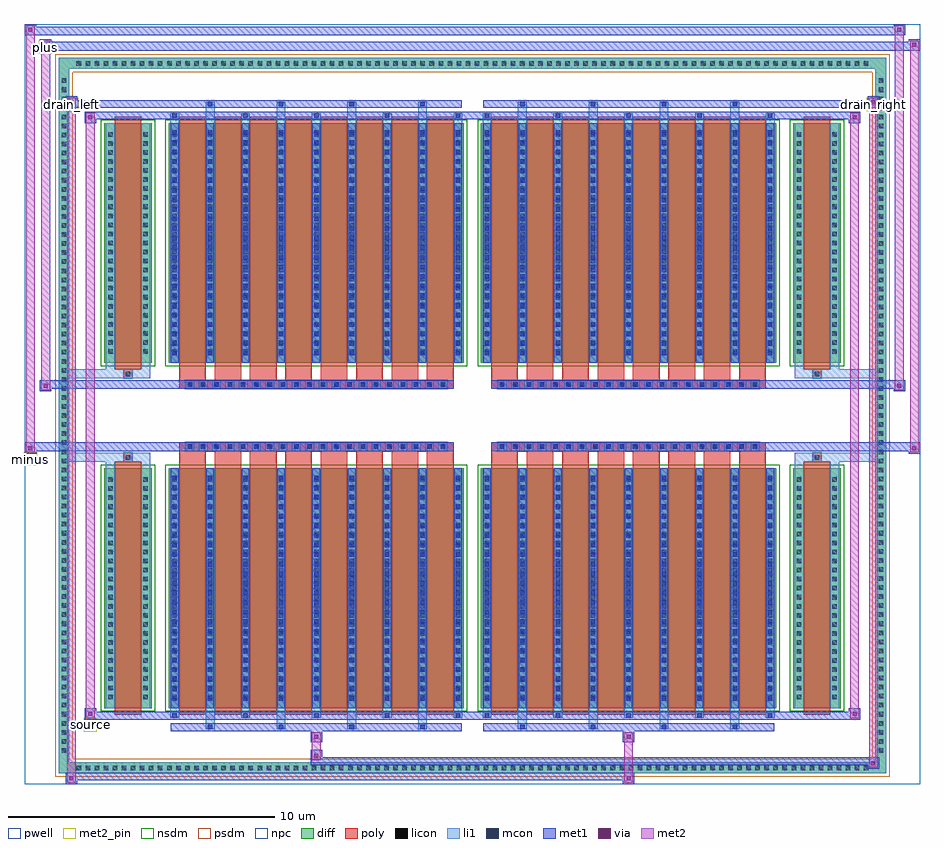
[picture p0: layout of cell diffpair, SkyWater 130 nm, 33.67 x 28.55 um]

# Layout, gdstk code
import gdstk
lib = gdstk.Library(unit=1e-6, precision=5e-09)
def R(c, l, rs):  # rectangles x0, y0, x1, y1
    for r in rs: c.add(gdstk.rectangle(r[:2], r[2:], *l))
def A(c, l, x, y, w, h, nx, ny, dx, dy):  # array of equal rectangles
    R(c, l, [(x+i*dx, y+j*dy, x+i*dx+w, y+j*dy+h) for i in range(nx) for j in range(ny)])
def P(c, l, *ps):  # polygons
    for p in ps: c.add(gdstk.Polygon(p, *l))
pwell = (64, 44)
diff = (65, 20)
poly = (66, 20)
licon = (66, 44)
li1 = (67, 20)
mcon = (67, 44)
met1 = (68, 20)
via = (68, 44)
met2_pin = (69, 16)
met2 = (69, 20)
nsdm = (93, 44)
psdm = (94, 20)
npc = (95, 20)

diffpair = lib.new_cell('diffpair')
R(diffpair, pwell, [(-16.82,-13.84,16.82,14.71), (-14.14,-12.03,-0.01,-0.805), (0.01,-12.03,14.14,-0.805), (-14.14,0.805,-0.01,12.03), (0.01,0.805,14.14,12.03)])
A(diffpair, diff, -14.995, -13.44, 0.41, 0.41, 88, 2, 0.34, 26.47)
A(diffpair, diff, -15.55, -12.785, 0.41, 0.41, 1, 75, 0, 0.34)
A(diffpair, diff, 15.14, -12.785, 0.41, 0.41, 1, 75, 0, 0.34)
R(diffpair, diff, [(-14.995,-13.44,14.995,-13.03), (-15.55,-12.785,-15.14,12.785), (15.14,-12.785,15.55,12.785), (-13.83,-10.985,-12.05,-1.985), (-11.41,-10.985,-0.32,-1.985), (0.32,-10.985,11.41,-1.985), (12.05,-10.985,13.83,-1.985), (-13.83,1.985,-12.05,10.985), (-11.41,1.985,-0.32,10.985), (0.32,1.985,11.41,10.985), (12.05,1.985,13.83,10.985), (-14.995,13.03,14.995,13.44)])
P(diffpair, diff, [(15.55,13.44),(-15.55,13.44),(-15.55,-13.03),(-15.14,-13.03),(-15.14,13.03),(15.14,13.03),(15.14,-13.03),(-15.14,-13.03),(-15.55,-13.03),(-15.55,-13.44),(15.55,-13.44)])
A(diffpair, poly, -11.02, -11.235, 1, 9.5, 8, 2, 1.33, 12.97)
A(diffpair, poly, 0.71, -11.235, 1, 9.5, 8, 2, 1.33, 12.97)
A(diffpair, poly, -11.02, -1.735, 1, 0.4, 8, 2, 1.33, 3.07)
A(diffpair, poly, 0.71, -1.735, 1, 0.4, 8, 2, 1.33, 3.07)
A(diffpair, poly, -10.78, -1.335, 0.33, 0.33, 20, 2, 0.5, 2.34)
A(diffpair, poly, 0.95, -1.335, 0.33, 0.33, 20, 2, 0.5, 2.34)
R(diffpair, poly, [(-13.44,-11.235,-12.44,-1.735), (12.44,-11.235,13.44,-1.735), (-13.105,-1.735,-12.775,-1.405), (-13.105,-1.735,-12.775,-1.405), (12.775,-1.735,13.105,-1.405), (12.775,-1.735,13.105,-1.405), (-11.02,-1.335,-0.71,-1.005), (0.71,-1.335,11.02,-1.005), (-11.02,1.005,-0.71,1.335), (0.71,1.005,11.02,1.335), (-13.105,1.405,-12.775,1.735), (-13.105,1.405,-12.775,1.735), (12.775,1.405,13.105,1.735), (12.775,1.405,13.105,1.735), (-13.44,1.735,-12.44,11.235), (12.44,1.735,13.44,11.235)])
A(diffpair, licon, -14.875, -13.32, 0.17, 0.17, 88, 2, 0.34, 26.47)
A(diffpair, licon, -15.43, -12.665, 0.17, 0.17, 1, 75, 0, 0.34)
A(diffpair, licon, 15.26, -12.665, 0.17, 0.17, 1, 75, 0, 0.34)
A(diffpair, licon, -13.69, -10.65, 0.17, 0.17, 1, 25, 0, 0.34)
A(diffpair, licon, -12.36, -10.65, 0.17, 0.17, 1, 25, 0, 0.34)
A(diffpair, licon, -11.27, -10.65, 0.17, 0.17, 9, 25, 1.33, 0.34)
A(diffpair, licon, 0.46, -10.65, 0.17, 0.17, 9, 25, 1.33, 0.34)
A(diffpair, licon, 12.19, -10.65, 0.17, 0.17, 1, 25, 0, 0.34)
A(diffpair, licon, 13.52, -10.65, 0.17, 0.17, 1, 25, 0, 0.34)
A(diffpair, licon, -10.7, -1.255, 0.17, 0.17, 20, 2, 0.5, 2.34)
A(diffpair, licon, 1.03, -1.255, 0.17, 0.17, 20, 2, 0.5, 2.34)
A(diffpair, licon, -13.69, 2.32, 0.17, 0.17, 1, 25, 0, 0.34)
A(diffpair, licon, -12.36, 2.32, 0.17, 0.17, 1, 25, 0, 0.34)
A(diffpair, licon, -11.27, 2.32, 0.17, 0.17, 9, 25, 1.33, 0.34)
A(diffpair, licon, 0.46, 2.32, 0.17, 0.17, 9, 25, 1.33, 0.34)
A(diffpair, licon, 12.19, 2.32, 0.17, 0.17, 1, 25, 0, 0.34)
A(diffpair, licon, 13.52, 2.32, 0.17, 0.17, 1, 25, 0, 0.34)
R(diffpair, licon, [(-13.025,-1.655,-12.855,-1.485), (12.855,-1.655,13.025,-1.485), (-13.025,1.485,-12.855,1.655), (12.855,1.485,13.025,1.655)])
A(diffpair, li1, -14.955, -13.4, 0.33, 0.33, 88, 2, 0.34, 26.47)
A(diffpair, li1, -15.51, -12.745, 0.33, 0.33, 1, 75, 0, 0.34)
A(diffpair, li1, 15.18, -12.745, 0.33, 0.33, 1, 75, 0, 0.34)
A(diffpair, li1, -10.02, -11.79, 0.33, 0.805, 4, 2, 2.66, 22.775)
A(diffpair, li1, -9.94, -11.79, 0.17, 0.17, 4, 2, 2.66, 23.41)
A(diffpair, li1, 1.71, -11.79, 0.33, 0.805, 4, 2, 2.66, 22.775)
A(diffpair, li1, 1.79, -11.79, 0.17, 0.17, 4, 2, 2.66, 23.41)
A(diffpair, li1, -11.35, -11.36, 0.33, 0.375, 5, 2, 2.66, 22.345)
A(diffpair, li1, -11.27, -11.36, 0.17, 0.17, 5, 2, 2.66, 22.55)
A(diffpair, li1, 0.38, -11.36, 0.33, 0.375, 5, 2, 2.66, 22.345)
A(diffpair, li1, 0.46, -11.36, 0.17, 0.17, 5, 2, 2.66, 22.55)
A(diffpair, li1, -11.35, -10.985, 0.33, 9, 9, 2, 1.33, 12.97)
A(diffpair, li1, 0.38, -10.985, 0.33, 9, 9, 2, 1.33, 12.97)
A(diffpair, li1, -13.77, -10.73, 0.33, 0.33, 1, 25, 0, 0.34)
A(diffpair, li1, -12.44, -10.73, 0.33, 0.33, 1, 25, 0, 0.34)
A(diffpair, li1, -11.35, -10.73, 0.33, 0.33, 9, 25, 1.33, 0.34)
A(diffpair, li1, 0.38, -10.73, 0.33, 0.33, 9, 25, 1.33, 0.34)
A(diffpair, li1, 12.11, -10.73, 0.33, 0.33, 1, 25, 0, 0.34)
A(diffpair, li1, 13.44, -10.73, 0.33, 0.33, 1, 25, 0, 0.34)
A(diffpair, li1, -11.27, -10.71, 0.17, 0.17, 9, 24, 1.33, 0.36)
A(diffpair, li1, -11.27, -10.71, 0.17, 8.45, 9, 2, 1.33, 12.97)
A(diffpair, li1, 0.46, -10.71, 0.17, 0.17, 9, 24, 1.33, 0.36)
A(diffpair, li1, 0.46, -10.71, 0.17, 8.45, 9, 2, 1.33, 12.97)
A(diffpair, li1, -10.78, -1.335, 0.33, 0.33, 20, 2, 0.5, 2.34)
A(diffpair, li1, 0.95, -1.335, 0.33, 0.33, 20, 2, 0.5, 2.34)
A(diffpair, li1, -13.77, 2.24, 0.33, 0.33, 1, 25, 0, 0.34)
A(diffpair, li1, -12.44, 2.24, 0.33, 0.33, 1, 25, 0, 0.34)
A(diffpair, li1, -11.35, 2.24, 0.33, 0.33, 9, 25, 1.33, 0.34)
A(diffpair, li1, 0.38, 2.24, 0.33, 0.33, 9, 25, 1.33, 0.34)
A(diffpair, li1, 12.11, 2.24, 0.33, 0.33, 1, 25, 0, 0.34)
A(diffpair, li1, 13.44, 2.24, 0.33, 0.33, 1, 25, 0, 0.34)
A(diffpair, li1, -11.27, 2.26, 0.17, 0.17, 9, 24, 1.33, 0.36)
A(diffpair, li1, 0.46, 2.26, 0.17, 0.17, 9, 24, 1.33, 0.36)
R(diffpair, li1, [(-15.55,-13.44,-15.14,-13.03), (-15.55,-13.44,-15.14,-13.03), (-15.14,-13.44,15.14,-13.03), (15.14,-13.44,15.55,-13.03), (15.14,-13.44,15.55,-13.03), (-15.55,-13.03,-15.14,13.03), (15.14,-13.03,15.55,13.03), (-13.77,-10.985,-13.44,-1.985), (-12.44,-10.985,-12.11,-1.985), (12.11,-10.985,12.44,-1.985), (13.44,-10.985,13.77,-1.985), (-13.77,-1.985,-13.44,-1.405), (-12.44,-1.985,-12.11,-1.405), (12.11,-1.985,12.44,-1.405), (13.44,-1.985,13.77,-1.405), (-15.55,-1.735,-13.105,-1.405), (-13.77,-1.735,-13.105,-1.405), (-13.105,-1.735,-12.775,-1.405), (-12.775,-1.735,-12.11,-1.405), (12.11,-1.735,12.775,-1.405), (12.775,-1.735,13.105,-1.405), (12.775,-1.735,15.55,-1.405), (13.105,-1.735,13.77,-1.405), (-15.55,1.405,-13.105,1.735), (-13.77,1.405,-13.105,1.735), (-13.77,1.405,-13.44,1.985), (-13.105,1.405,-12.775,1.735), (-12.775,1.405,-12.11,1.735), (-12.44,1.405,-12.11,1.985), (12.11,1.405,12.775,1.735), (12.11,1.405,12.44,1.985), (12.775,1.405,13.105,1.735), (12.775,1.405,15.55,1.735), (13.105,1.405,13.77,1.735), (13.44,1.405,13.77,1.985), (-13.77,1.985,-13.44,10.985), (-12.44,1.985,-12.11,10.985), (12.11,1.985,12.44,10.985), (13.44,1.985,13.77,10.985), (-15.55,13.03,-15.14,13.44), (-15.55,13.03,-15.14,13.44), (-15.14,13.03,15.14,13.44), (15.14,13.03,15.55,13.44), (15.14,13.03,15.55,13.44)])
A(diffpair, mcon, -9.94, -11.79, 0.17, 0.17, 4, 2, 2.66, 23.41)
A(diffpair, mcon, 1.79, -11.79, 0.17, 0.17, 4, 2, 2.66, 23.41)
A(diffpair, mcon, -11.27, -11.36, 0.17, 0.17, 5, 2, 2.66, 22.55)
A(diffpair, mcon, 0.46, -11.36, 0.17, 0.17, 5, 2, 2.66, 22.55)
A(diffpair, mcon, -11.27, -10.71, 0.17, 0.17, 9, 24, 1.33, 0.36)
A(diffpair, mcon, 0.46, -10.71, 0.17, 0.17, 9, 24, 1.33, 0.36)
A(diffpair, mcon, -10.7, -1.255, 0.17, 0.17, 20, 2, 0.5, 2.34)
A(diffpair, mcon, 1.03, -1.255, 0.17, 0.17, 20, 2, 0.5, 2.34)
A(diffpair, mcon, -11.27, 2.26, 0.17, 0.17, 9, 24, 1.33, 0.36)
A(diffpair, mcon, 0.46, 2.26, 0.17, 0.17, 9, 24, 1.33, 0.36)
A(diffpair, met1, -10, -11.85, 0.29, 0.29, 4, 2, 2.66, 23.41)
A(diffpair, met1, 1.73, -11.85, 0.29, 0.29, 4, 2, 2.66, 23.41)
A(diffpair, met1, -11.33, -11.42, 0.29, 0.29, 5, 2, 2.66, 22.55)
A(diffpair, met1, 0.4, -11.42, 0.29, 0.29, 5, 2, 2.66, 22.55)
A(diffpair, met1, -11.33, -10.985, 0.29, 9, 9, 2, 1.33, 12.97)
A(diffpair, met1, 0.4, -10.985, 0.29, 9, 9, 2, 1.33, 12.97)
A(diffpair, met1, -11.33, -10.77, 0.29, 0.29, 9, 24, 1.33, 0.36)
A(diffpair, met1, 0.4, -10.77, 0.29, 0.29, 9, 24, 1.33, 0.36)
A(diffpair, met1, -10.76, -1.315, 0.29, 0.29, 20, 2, 0.5, 2.34)
A(diffpair, met1, 0.97, -1.315, 0.29, 0.29, 20, 2, 0.5, 2.34)
A(diffpair, met1, -11.33, 2.2, 0.29, 0.29, 9, 24, 1.33, 0.36)
A(diffpair, met1, 0.4, 2.2, 0.29, 0.29, 9, 24, 1.33, 0.36)
R(diffpair, met1, [(-15.28,-13.84,-14.85,-13.41), (5.65,-13.84,6.08,-13.41), (-15.28,-13.7,6.08,-13.41), (14.85,-13.27,15.28,-12.84), (-6.08,-13.13,15.28,-12.84), (-6.08,-12.99,-5.65,-12.56), (-6.08,-12.28,-5.65,-11.85), (5.65,-12.28,6.08,-11.85), (-11.33,-11.85,-0.4,-11.56), (0.4,-11.85,11.33,-11.56), (-14.57,-11.42,-14.14,-10.99), (-14.57,-11.42,-11.33,-11.13), (-11.33,-11.42,-0.4,-11.13), (-0.4,-11.42,0.4,-11.13), (0.4,-11.42,11.33,-11.13), (11.33,-11.42,14.57,-11.13), (14.14,-11.42,14.57,-10.99), (-16.82,-1.435,-16.39,-1.005), (16.39,-1.435,16.82,-1.005), (-16.82,-1.335,-0.71,-1.005), (-11.02,-1.335,-0.71,-1.005), (0.71,-1.335,11.02,-1.005), (0.71,-1.335,16.82,-1.005), (-16.25,0.905,-15.82,1.335), (15.82,0.905,16.25,1.335), (-16.25,1.005,-11.02,1.335), (-11.02,1.005,-0.71,1.335), (0.71,1.005,11.02,1.335), (11.02,1.005,16.25,1.335), (-14.57,10.99,-14.14,11.42), (14.14,10.99,14.57,11.42), (-14.57,11.13,-11.33,11.42), (-11.33,11.13,-0.4,11.42), (-0.4,11.13,0.4,11.42), (0.4,11.13,11.33,11.42), (11.33,11.13,14.57,11.42), (-15.28,11.56,-14.85,11.99), (-15.28,11.56,-11.33,11.85), (-11.33,11.56,-0.4,11.85), (0.4,11.56,11.33,11.85), (11.33,11.56,15.28,11.85), (14.85,11.56,15.28,11.99), (-16.25,13.71,-15.82,14.14), (-16.25,13.71,-14.14,14.04), (-14.14,13.71,14.14,14.04), (14.14,13.71,16.82,14.04), (16.39,13.71,16.82,14.14), (-16.82,14.28,-16.39,14.71), (-16.82,14.28,-14.14,14.61), (-14.14,14.28,14.14,14.61), (14.14,14.28,16.25,14.61), (15.82,14.28,16.25,14.71)])
R(diffpair, via, [(-15.14,-13.7,-14.99,-13.55), (5.79,-13.7,5.94,-13.55), (14.99,-13.13,15.14,-12.98), (-5.94,-12.85,-5.79,-12.7), (-5.94,-12.14,-5.79,-11.99), (5.79,-12.14,5.94,-11.99), (-14.43,-11.28,-14.28,-11.13), (14.28,-11.28,14.43,-11.13), (-16.68,-1.295,-16.53,-1.145), (16.53,-1.295,16.68,-1.145), (-16.11,1.045,-15.96,1.195), (15.96,1.045,16.11,1.195), (-14.43,11.13,-14.28,11.28), (14.28,11.13,14.43,11.28), (-15.14,11.7,-14.99,11.85), (14.99,11.7,15.14,11.85), (-16.11,13.85,-15.96,14), (16.53,13.85,16.68,14), (-16.68,14.42,-16.53,14.57), (15.96,14.42,16.11,14.57)])
R(diffpair, met2_pin, [(-14.605,-11.87,-14.105,-11.37), (-16.855,-1.885,-16.355,-1.385), (-15.315,11.44,-14.815,11.94), (14.815,11.44,15.315,11.94), (-16.285,13.59,-15.785,14.09)])
R(diffpair, met2, [(-15.23,-13.79,-14.9,-13.46), (-15.23,-13.79,-14.9,11.94), (5.7,-13.79,6.03,-13.46), (5.7,-13.46,6.03,-12.23), (14.9,-13.22,15.23,-12.89), (14.9,-13.22,15.23,11.94), (-6.03,-12.94,-5.7,-12.61), (-6.03,-12.61,-5.7,-12.23), (-6.03,-12.23,-5.7,-11.9), (5.7,-12.23,6.03,-11.9), (-14.52,-11.37,-14.19,-11.04), (-14.52,-11.37,-14.19,11.37), (14.19,-11.37,14.52,-11.04), (14.19,-11.37,14.52,11.37), (-16.77,-1.385,-16.44,-1.055), (-16.77,-1.385,-16.44,14.66), (16.44,-1.385,16.77,-1.055), (16.44,-1.385,16.77,14.09), (-16.2,0.955,-15.87,1.285), (-16.2,0.955,-15.87,14.09), (15.87,0.955,16.2,1.285), (15.87,0.955,16.2,14.66), (-14.52,11.04,-14.19,11.37), (14.19,11.04,14.52,11.37), (-15.23,11.61,-14.9,11.94), (14.9,11.61,15.23,11.94), (-16.2,13.76,-15.87,14.09), (16.44,13.76,16.77,14.09), (-16.77,14.33,-16.44,14.66), (15.87,14.33,16.2,14.66)])
P(diffpair, met2, [(16.77,-1.385),(16.77,-1.385),(16.77,-1.055),(16.77,-1.055)],
  [(16.77,13.76),(16.77,13.76),(16.77,14.09),(16.77,14.09)],
  [(-16.44,-1.385),(-16.44,-1.385),(-16.44,-1.055),(-16.44,-1.055)],
  [(-16.44,14.33),(-16.44,14.33),(-16.44,14.66),(-16.44,14.66)],
  [(16.2,0.955),(16.2,0.955),(16.2,1.285),(16.2,1.285)],
  [(16.2,14.33),(16.2,14.33),(16.2,14.66),(16.2,14.66)],
  [(-15.87,0.955),(-15.87,0.955),(-15.87,1.285),(-15.87,1.285)],
  [(-15.87,13.76),(-15.87,13.76),(-15.87,14.09),(-15.87,14.09)],
  [(-14.9,-13.79),(-14.9,-13.79),(-14.9,-13.46),(-14.9,-13.46)],
  [(-14.9,11.61),(-14.9,11.61),(-14.9,11.94),(-14.9,11.94)],
  [(15.23,-13.22),(15.23,-13.22),(15.23,-12.89),(15.23,-12.89)],
  [(15.23,11.61),(15.23,11.61),(15.23,11.94),(15.23,11.94)],
  [(-14.19,-11.37),(-14.19,-11.37),(-14.19,-11.04),(-14.19,-11.04)],
  [(-14.19,11.04),(-14.19,11.04),(-14.19,11.37),(-14.19,11.37)],
  [(14.52,-11.37),(14.52,-11.37),(14.52,-11.04),(14.52,-11.04)],
  [(14.52,11.04),(14.52,11.04),(14.52,11.37),(14.52,11.37)])
R(diffpair, nsdm, [(-13.96,-11.115,-11.92,-1.855), (-11.54,-11.115,-0.19,-1.855), (0.19,-11.115,11.54,-1.855), (11.92,-11.115,13.96,-1.855), (-13.96,1.855,-11.92,11.115), (-11.54,1.855,-0.19,11.115), (0.19,1.855,11.54,11.115), (11.92,1.855,13.96,11.115)])
P(diffpair, psdm, [(15.68,13.57),(-15.68,13.57),(-15.68,-12.9),(-15.01,-12.9),(-15.01,12.9),(15.01,12.9),(15.01,-12.9),(-15.01,-12.9),(-15.68,-12.9),(-15.68,-13.57),(15.68,-13.57)])
A(diffpair, npc, -10.8, -1.355, 0.37, 0.37, 20, 2, 0.5, 2.34)
A(diffpair, npc, 0.93, -1.355, 0.37, 0.37, 20, 2, 0.5, 2.34)
R(diffpair, npc, [(-13.125,-1.755,-12.755,-1.385), (12.755,-1.755,13.125,-1.385), (-10.8,-1.355,-9.93,-0.985), (-10.8,-1.355,-9.93,-0.985), (-10.3,-1.355,-9.43,-0.985), (-10.3,-1.355,-9.43,-0.985), (-9.8,-1.355,-8.93,-0.985), (-9.8,-1.355,-8.93,-0.985), (-9.3,-1.355,-8.43,-0.985), (-9.3,-1.355,-8.43,-0.985), (-8.8,-1.355,-7.93,-0.985), (-8.8,-1.355,-7.93,-0.985), (-8.3,-1.355,-7.43,-0.985), (-8.3,-1.355,-7.43,-0.985), (-7.8,-1.355,-6.93,-0.985), (-7.8,-1.355,-6.93,-0.985), (-7.3,-1.355,-6.43,-0.985), (-7.3,-1.355,-6.43,-0.985), (-6.8,-1.355,-5.93,-0.985), (-6.8,-1.355,-5.93,-0.985), (-6.3,-1.355,-5.43,-0.985), (-6.3,-1.355,-5.43,-0.985), (-5.8,-1.355,-4.93,-0.985), (-5.8,-1.355,-4.93,-0.985), (-5.3,-1.355,-4.43,-0.985), (-5.3,-1.355,-4.43,-0.985), (-4.8,-1.355,-3.93,-0.985), (-4.8,-1.355,-3.93,-0.985), (-4.3,-1.355,-3.43,-0.985), (-4.3,-1.355,-3.43,-0.985), (-3.8,-1.355,-2.93,-0.985), (-3.8,-1.355,-2.93,-0.985), (-3.3,-1.355,-2.43,-0.985), (-3.3,-1.355,-2.43,-0.985), (-2.8,-1.355,-1.93,-0.985), (-2.8,-1.355,-1.93,-0.985), (-2.3,-1.355,-1.43,-0.985), (-2.3,-1.355,-1.43,-0.985), (-1.8,-1.355,-0.93,-0.985), (-1.8,-1.355,-0.93,-0.985), (0.93,-1.355,1.8,-0.985), (0.93,-1.355,1.8,-0.985), (1.43,-1.355,2.3,-0.985), (1.43,-1.355,2.3,-0.985), (1.93,-1.355,2.8,-0.985), (1.93,-1.355,2.8,-0.985), (2.43,-1.355,3.3,-0.985), (2.43,-1.355,3.3,-0.985), (2.93,-1.355,3.8,-0.985), (2.93,-1.355,3.8,-0.985), (3.43,-1.355,4.3,-0.985), (3.43,-1.355,4.3,-0.985), (3.93,-1.355,4.8,-0.985), (3.93,-1.355,4.8,-0.985), (4.43,-1.355,5.3,-0.985), (4.43,-1.355,5.3,-0.985), (4.93,-1.355,5.8,-0.985), (4.93,-1.355,5.8,-0.985), (5.43,-1.355,6.3,-0.985), (5.43,-1.355,6.3,-0.985), (5.93,-1.355,6.8,-0.985), (5.93,-1.355,6.8,-0.985), (6.43,-1.355,7.3,-0.985), (6.43,-1.355,7.3,-0.985), (6.93,-1.355,7.8,-0.985), (6.93,-1.355,7.8,-0.985), (7.43,-1.355,8.3,-0.985), (7.43,-1.355,8.3,-0.985), (7.93,-1.355,8.8,-0.985), (7.93,-1.355,8.8,-0.985), (8.43,-1.355,9.3,-0.985), (8.43,-1.355,9.3,-0.985), (8.93,-1.355,9.8,-0.985), (8.93,-1.355,9.8,-0.985), (9.43,-1.355,10.3,-0.985), (9.43,-1.355,10.3,-0.985), (9.93,-1.355,10.8,-0.985), (9.93,-1.355,10.8,-0.985), (-10.8,0.985,-9.93,1.355), (-10.8,0.985,-9.93,1.355), (-10.3,0.985,-9.43,1.355), (-10.3,0.985,-9.43,1.355), (-9.8,0.985,-8.93,1.355), (-9.8,0.985,-8.93,1.355), (-9.3,0.985,-8.43,1.355), (-9.3,0.985,-8.43,1.355), (-8.8,0.985,-7.93,1.355), (-8.8,0.985,-7.93,1.355), (-8.3,0.985,-7.43,1.355), (-8.3,0.985,-7.43,1.355), (-7.8,0.985,-6.93,1.355), (-7.8,0.985,-6.93,1.355), (-7.3,0.985,-6.43,1.355), (-7.3,0.985,-6.43,1.355), (-6.8,0.985,-5.93,1.355), (-6.8,0.985,-5.93,1.355), (-6.3,0.985,-5.43,1.355), (-6.3,0.985,-5.43,1.355), (-5.8,0.985,-4.93,1.355), (-5.8,0.985,-4.93,1.355), (-5.3,0.985,-4.43,1.355), (-5.3,0.985,-4.43,1.355), (-4.8,0.985,-3.93,1.355), (-4.8,0.985,-3.93,1.355), (-4.3,0.985,-3.43,1.355), (-4.3,0.985,-3.43,1.355), (-3.8,0.985,-2.93,1.355), (-3.8,0.985,-2.93,1.355), (-3.3,0.985,-2.43,1.355), (-3.3,0.985,-2.43,1.355), (-2.8,0.985,-1.93,1.355), (-2.8,0.985,-1.93,1.355), (-2.3,0.985,-1.43,1.355), (-2.3,0.985,-1.43,1.355), (-1.8,0.985,-0.93,1.355), (-1.8,0.985,-0.93,1.355), (0.93,0.985,1.8,1.355), (0.93,0.985,1.8,1.355), (1.43,0.985,2.3,1.355), (1.43,0.985,2.3,1.355), (1.93,0.985,2.8,1.355), (1.93,0.985,2.8,1.355), (2.43,0.985,3.3,1.355), (2.43,0.985,3.3,1.355), (2.93,0.985,3.8,1.355), (2.93,0.985,3.8,1.355), (3.43,0.985,4.3,1.355), (3.43,0.985,4.3,1.355), (3.93,0.985,4.8,1.355), (3.93,0.985,4.8,1.355), (4.43,0.985,5.3,1.355), (4.43,0.985,5.3,1.355), (4.93,0.985,5.8,1.355), (4.93,0.985,5.8,1.355), (5.43,0.985,6.3,1.355), (5.43,0.985,6.3,1.355), (5.93,0.985,6.8,1.355), (5.93,0.985,6.8,1.355), (6.43,0.985,7.3,1.355), (6.43,0.985,7.3,1.355), (6.93,0.985,7.8,1.355), (6.93,0.985,7.8,1.355), (7.43,0.985,8.3,1.355), (7.43,0.985,8.3,1.355), (7.93,0.985,8.8,1.355), (7.93,0.985,8.8,1.355), (8.43,0.985,9.3,1.355), (8.43,0.985,9.3,1.355), (8.93,0.985,9.8,1.355), (8.93,0.985,9.8,1.355), (9.43,0.985,10.3,1.355), (9.43,0.985,10.3,1.355), (9.93,0.985,10.8,1.355), (9.93,0.985,10.8,1.355), (-13.125,1.385,-12.755,1.755), (12.755,1.385,13.125,1.755)])
diffpair.add(gdstk.Label('minus', (-16.605,-1.635), layer=69, texttype=5))
diffpair.add(gdstk.Label('drain_right', (15.065,11.69), layer=69, texttype=5))
diffpair.add(gdstk.Label('drain_left', (-15.065,11.69), layer=69, texttype=5))
diffpair.add(gdstk.Label('source', (-14.355,-11.62), layer=69, texttype=5))
diffpair.add(gdstk.Label('plus', (-16.035,13.84), layer=69, texttype=5))

lib.write_gds('diffpair.gds')
